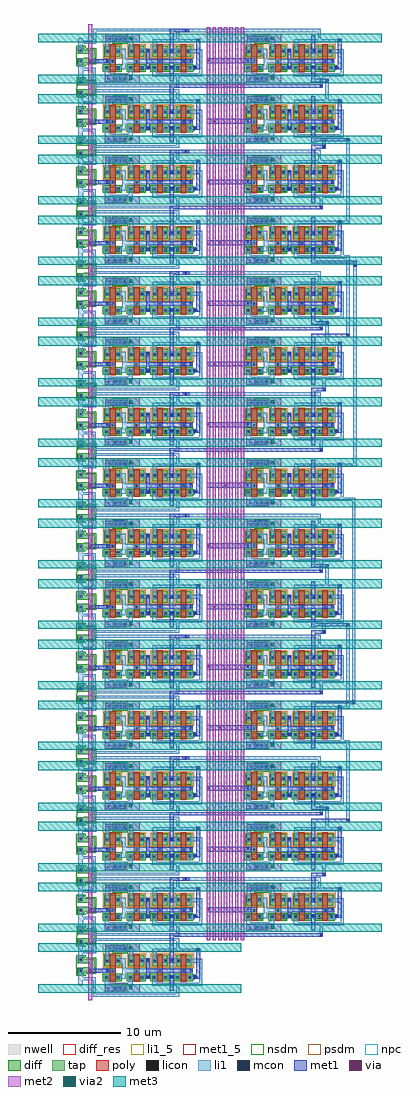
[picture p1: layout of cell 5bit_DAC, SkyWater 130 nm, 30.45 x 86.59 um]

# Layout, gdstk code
import gdstk
lib = gdstk.Library(unit=1e-6, precision=1e-09)
def R(c, l, rs):  # rectangles x0, y0, x1, y1
    for r in rs: c.add(gdstk.rectangle(r[:2], r[2:], *l))
def A(c, l, x, y, w, h, nx, ny, dx, dy):  # array of equal rectangles
    R(c, l, [(x+i*dx, y+j*dy, x+i*dx+w, y+j*dy+h) for i in range(nx) for j in range(ny)])
def P(c, l, *ps):  # polygons
    for p in ps: c.add(gdstk.Polygon(p, *l))
nwell = (64, 20)
diff_res = (65, 13)
diff = (65, 20)
tap = (65, 44)
poly = (66, 20)
licon = (66, 44)
li1_5 = (67, 5)
li1 = (67, 20)
mcon = (67, 44)
met1_5 = (68, 5)
met1 = (68, 20)
via = (68, 44)
met2 = (69, 20)
via2 = (69, 44)
met3 = (70, 20)
nsdm = (93, 44)
psdm = (94, 20)
npc = (95, 20)

resistor = lib.new_cell('resistor')
R(resistor, diff_res, [(-0.68,-1.03,-0.07,-0.87), (-0.68,-0.87,0.88,-0.83), (-0.68,-0.83,-0.48,-0.65), (-0.3,-0.83,0.88,-0.65), (-0.68,-0.65,0.88,-0.44), (-0.12,-0.44,0.88,-0.43), (0.45,-0.43,0.87,-0.07), (-0.64,-0.07,0.87,0.16), (-0.64,0.16,-0.46,0.34), (-0.28,0.16,0.87,0.31), (-0.28,0.31,-0.07,0.34), (-0.64,0.34,-0.07,0.53)])
R(resistor, diff, [(-0.68,-1.03,-0.07,-0.87), (-0.68,-0.87,0.88,-0.44), (-0.12,-0.44,0.88,-0.43), (0.45,-0.43,0.87,-0.07), (-0.64,-0.07,0.87,0.31), (-0.64,0.31,-0.07,0.53)])
R(resistor, licon, [(-0.475,-0.825,-0.305,-0.655), (-0.455,0.165,-0.285,0.335)])
R(resistor, li1, [(-0.59,-2,-0.19,-0.56), (-0.588,0.06,-0.188,1.3)])
R(resistor, nsdm, [(-0.805,-1.155,0.055,-0.995), (-0.805,-0.995,1.005,-0.315), (-0.765,-0.315,1.005,-0.305), (-0.765,-0.305,0.995,0.435), (-0.765,0.435,0.055,0.655)])
resistor.add(gdstk.Label('b', (-0.37,0.27), layer=67, texttype=5))
resistor.add(gdstk.Label('a', (-0.39,-0.75), layer=67, texttype=5))

switch0 = lib.new_cell('switch0')
R(switch0, nwell, [(-0.19,0,7.92,1.5), (-0.19,1.5,3.08,2.24)])
R(switch0, diff, [(-0.04,-1.01,1.39,-0.59), (2.09,-1.01,3.52,-0.59), (4.17,-1.01,5.6,-0.59), (6.3,-1.01,7.73,-0.59), (0.01,0.18,1.37,1.18), (2.14,0.18,3.5,1.18), (4.22,0.18,5.58,1.18), (6.32,0.18,7.68,0.87), (6.32,0.87,7.69,1.18)])
R(switch0, tap, [(0.81,-2.01,1.92,-1.42), (0.82,1.46,1.92,2.05)])
A(switch0, poly, 2.58, -1.17, 0.5, 2.48, 3, 1, 2.08, 0)
R(switch0, poly, [(0.45,-1.17,0.95,1.31)])
R(switch0, licon, [(1.275,-1.795,1.445,-1.625), (0.085,-0.875,0.255,-0.705), (2.215,-0.875,2.385,-0.705), (4.295,-0.875,4.465,-0.705), (7.435,-0.875,7.605,-0.705), (1.115,-0.835,1.285,-0.665), (3.245,-0.835,3.415,-0.665), (5.325,-0.835,5.495,-0.665), (6.405,-0.835,6.575,-0.665), (2.725,-0.315,2.895,-0.145), (6.965,-0.295,7.135,-0.125), (0.595,-0.285,0.765,-0.115), (4.815,-0.265,4.985,-0.095), (0.145,0.615,0.315,0.785), (1.105,0.615,1.275,0.785), (2.275,0.615,2.445,0.785), (3.235,0.615,3.405,0.785), (4.355,0.615,4.525,0.785), (5.315,0.615,5.485,0.785), (6.415,0.615,6.585,0.785), (7.375,0.615,7.545,0.785), (1.297,1.658,1.467,1.828)])
R(switch0, li1_5, [(5.79,-1.48,6.18,-1.45), (5.83,0.07,6.05,0.22), (5.77,1.64,6.16,1.67)])
R(switch0, li1, [(0.81,-2.01,1.92,-1.5), (4.2,-1.55,8.64,-1.29), (8.37,-1.55,8.64,0.51), (-0.01,-1.5,0.36,-0.97), (-0.01,-1.5,2.49,-1.28), (4.2,-1.29,4.57,-0.97), (2.12,-1.28,2.49,-0.97), (7.33,-1.01,7.97,-0.88), (-0.02,-0.97,0.36,-0.6), (2.11,-0.97,2.49,-0.6), (4.19,-0.97,4.57,-0.6), (1.02,-0.93,1.87,-0.59), (3.15,-0.93,3.99,-0.59), (5.23,-0.93,6.67,-0.59), (5.77,-0.93,6.13,0.9), (7.33,-0.88,8.2,-0.63), (-0.01,-0.6,0.36,-0.59), (2.12,-0.6,2.49,-0.59), (1.56,-0.59,1.87,-0.38), (-0.6,-0.38,0.89,-0.03), (1.56,-0.38,5.15,-0.02), (6.8,-0.38,7.8,-0.01), (1.56,-0.02,1.87,0.51), (0.04,0.5,0.41,1.59), (2.17,0.5,2.54,1.59), (4.25,0.5,4.62,1.76), (1,0.51,1.87,0.9), (5.21,0.51,6.69,0.9), (7.27,0.51,8.65,0.87), (3.13,0.53,4,0.9), (0.82,1.46,1.92,1.59), (4.25,1.51,8.41,1.76), (0.04,1.59,2.54,1.83), (0.82,1.83,1.92,2.05)])
R(switch0, mcon, [(0.9,-1.825,1.07,-1.655), (1.67,-1.825,1.84,-1.655), (5.856,-0.846,6.026,-0.676), (3.74,-0.845,3.91,-0.675), (7.985,-0.815,8.155,-0.645), (0.12,-0.272,0.29,-0.102), (7.515,-0.255,7.685,-0.085), (5.865,0.626,6.035,0.796), (3.76,0.645,3.93,0.815), (8.195,1.575,8.365,1.745), (1.65,1.659,1.82,1.829), (0.92,1.66,1.09,1.83)])
R(switch0, met1_5, [(1.19,-1.98,1.53,-1.92), (1.22,1.95,1.5,2)])
R(switch0, met1, [(-0.01,-2.01,1.92,-1.42), (5.77,-2,6.13,-0.59), (3.67,-0.93,3.99,-0.38), (7.9,-0.9,8.46,-0.58), (8.12,-0.58,8.46,1.48), (-1.459,-0.38,0.419,-0.03), (3.67,-0.38,7.79,-0.02), (3.67,-0.02,4,0.9), (7.37,-0.02,7.77,-0.01), (5.77,0.51,6.13,2.24), (0.04,1.46,1.92,2.05), (8.12,1.48,8.46,1.81)])
R(switch0, via, [(0.24,-1.84,0.41,-1.67), (-1.372,-0.3,-1.202,-0.13), (0.359,1.689,0.529,1.859)])
R(switch0, met2, [(-1.459,-2.8,-1.129,3.1), (-0.01,-2.135,3.08,-1.42), (0.04,1.46,3.08,2.24)])
R(switch0, via2, [(2.154,-1.853,2.454,-1.553), (2.154,1.684,2.454,1.984)])
R(switch0, nsdm, [(-0.165,-1.135,1.515,-0.465), (1.965,-1.135,3.645,-0.465), (4.045,-1.135,5.725,-0.465), (6.175,-1.135,7.855,-0.465), (0.695,1.335,2.045,2.175)])
R(switch0, psdm, [(0.685,-2.135,2.045,-1.295), (-0.115,0.055,1.495,1.305), (2.015,0.055,3.625,1.305), (4.095,0.055,5.705,1.305), (6.195,0.055,7.805,0.745), (6.195,0.745,7.815,1.305)])
R(switch0, npc, [(2.625,-0.415,2.995,-0.045), (6.865,-0.395,7.235,-0.025), (0.495,-0.385,0.865,-0.015), (4.715,-0.365,5.085,0.005)])
switch0.add(gdstk.Label('vrefh', (5.965,1.655), layer=67, texttype=5))
switch0.add(gdstk.Label('vrefl', (5.985,-1.465), layer=67, texttype=5))
switch0.add(gdstk.Label('vout', (5.94,0.145), layer=67, texttype=5))
switch0.add(gdstk.Label('Vout', (5.927,2.295), layer=68, texttype=5))
switch0.add(gdstk.Label('Vout', (5.94,-1.971), layer=68, texttype=5))
switch0.add(gdstk.Label('vdd', (1.36,1.975), layer=68, texttype=5))
switch0.add(gdstk.Label('gnd', (1.36,-1.95), layer=68, texttype=5))
switch0.add(gdstk.Label('D0', (-1.368,2.259), layer=69, texttype=5))

c_1bit_dac = lib.new_cell('1bit_DAC')
R(c_1bit_dac, li1, [(-1.132,-3.22,-0.902,-1.524), (-1.132,-3.22,6.493,-2.989), (6.243,-3.22,6.493,-2.015), (-2.444,-1.755,-0.9,-1.524), (-2.442,0.632,-0.874,0.898), (-1.12,0.632,-0.874,1.967), (6.243,0.785,6.493,1.967), (-1.12,1.717,6.493,1.967)])
R(c_1bit_dac, met3, [(-6,-2.86,12,-2.145), (-6,0.735,12,1.515)])
c_1bit_dac.add(gdstk.Reference(resistor, (-1.854,-0.203)))
c_1bit_dac.add(gdstk.Reference(switch0, (-0.106,-0.725)))
c_1bit_dac.add(gdstk.Label('GND', (-3.022,-2.615), layer=71, texttype=5))
c_1bit_dac.add(gdstk.Label('VDD', (-2.639,1.033), layer=71, texttype=5))

switchn = lib.new_cell('switchn')
R(switchn, nwell, [(-0.19,0,7.92,1.5), (-0.19,1.5,3.08,2.24)])
R(switchn, diff, [(-0.04,-1.01,1.39,-0.59), (2.09,-1.01,3.52,-0.59), (4.17,-1.01,5.6,-0.59), (6.3,-1.01,7.73,-0.59), (0.01,0.18,1.37,1.18), (2.14,0.18,3.5,1.18), (4.22,0.18,5.58,1.18), (6.32,0.18,7.68,0.87), (6.32,0.87,7.69,1.18)])
R(switchn, tap, [(0.81,-2.01,1.92,-1.42), (0.82,1.46,1.92,2.05)])
A(switchn, poly, 2.58, -1.17, 0.5, 2.48, 3, 1, 2.08, 0)
R(switchn, poly, [(0.45,-1.17,0.95,1.31)])
R(switchn, licon, [(1.275,-1.795,1.445,-1.625), (0.085,-0.875,0.255,-0.705), (2.215,-0.875,2.385,-0.705), (4.295,-0.875,4.465,-0.705), (7.435,-0.875,7.605,-0.705), (1.115,-0.835,1.285,-0.665), (3.245,-0.835,3.415,-0.665), (5.325,-0.835,5.495,-0.665), (6.405,-0.835,6.575,-0.665), (2.725,-0.315,2.895,-0.145), (6.965,-0.295,7.135,-0.125), (0.595,-0.285,0.765,-0.115), (4.815,-0.265,4.985,-0.095), (0.145,0.615,0.315,0.785), (1.105,0.615,1.275,0.785), (2.275,0.615,2.445,0.785), (3.235,0.615,3.405,0.785), (4.355,0.615,4.525,0.785), (5.315,0.615,5.485,0.785), (6.415,0.615,6.585,0.785), (7.375,0.615,7.545,0.785), (1.297,1.658,1.467,1.828)])
R(switchn, li1_5, [(5.79,-1.48,6.18,-1.45), (5.83,0.07,6.05,0.22), (5.77,1.64,6.16,1.67)])
R(switchn, li1, [(0.81,-2.01,1.92,-1.5), (4.2,-1.55,8.64,-1.29), (8.37,-1.55,8.64,0.51), (-0.01,-1.5,0.36,-0.97), (-0.01,-1.5,2.49,-1.28), (4.2,-1.29,4.57,-0.97), (2.12,-1.28,2.49,-0.97), (7.33,-1.01,7.97,-0.88), (-0.02,-0.97,0.36,-0.6), (2.11,-0.97,2.49,-0.6), (4.19,-0.97,4.57,-0.6), (1.02,-0.93,1.87,-0.59), (3.15,-0.93,3.99,-0.59), (5.23,-0.93,6.67,-0.59), (5.77,-0.93,6.13,0.9), (7.33,-0.88,8.2,-0.63), (-0.01,-0.6,0.36,-0.59), (2.12,-0.6,2.49,-0.59), (1.56,-0.59,1.87,-0.38), (-0.145,-0.385,0.89,0.055), (1.56,-0.38,5.15,-0.02), (6.8,-0.38,7.8,-0.01), (1.56,-0.02,1.87,0.51), (0.04,0.5,0.41,1.59), (2.17,0.5,2.54,1.59), (4.25,0.5,4.62,1.76), (1,0.51,1.87,0.9), (5.21,0.51,6.69,0.9), (7.27,0.51,8.65,0.87), (3.13,0.53,4,0.9), (0.82,1.46,1.92,1.59), (4.25,1.51,8.41,1.76), (0.04,1.59,2.54,1.83), (0.82,1.83,1.92,2.05)])
R(switchn, mcon, [(0.9,-1.825,1.07,-1.655), (1.67,-1.825,1.84,-1.655), (3.74,-0.845,3.91,-0.675), (5.851,-0.844,6.021,-0.674), (7.985,-0.815,8.155,-0.645), (7.515,-0.255,7.685,-0.085), (0.025,-0.233,0.195,-0.063), (5.874,0.629,6.044,0.799), (3.76,0.645,3.93,0.815), (8.195,1.575,8.365,1.745), (1.65,1.659,1.82,1.829), (0.92,1.66,1.09,1.83)])
R(switchn, met1_5, [(1.19,-1.98,1.53,-1.92), (1.22,1.95,1.5,2)])
R(switchn, met1, [(-0.01,-2.01,1.92,-1.42), (5.77,-2,6.131,-0.59), (3.67,-0.93,3.99,-0.38), (7.9,-0.9,8.46,-0.58), (8.12,-0.58,8.46,1.48), (-3.5,-0.385,0.419,0.055), (3.67,-0.38,7.79,-0.02), (3.67,-0.02,4,0.9), (7.37,-0.02,7.77,-0.01), (5.77,0.513,6.13,2.084), (0.04,1.46,1.92,2.05), (8.12,1.48,8.46,1.81)])
R(switchn, via, [(0.24,-1.84,0.41,-1.67), (0.359,1.689,0.529,1.859)])
A(switchn, met2, -3.5, -2.9, 0.3, 5.7, 7, 1, 0.5, 0)
R(switchn, met2, [(-0.01,-2.135,3.08,-1.42), (0.04,1.46,3.08,2.24)])
R(switchn, via2, [(2.154,-1.853,2.454,-1.553), (2.154,1.684,2.454,1.984)])
R(switchn, met3, [(-4,-2.135,12,-1.42), (-4,1.46,12,2.24)])
R(switchn, nsdm, [(-0.165,-1.135,1.515,-0.465), (1.965,-1.135,3.645,-0.465), (4.045,-1.135,5.725,-0.465), (6.175,-1.135,7.855,-0.465), (0.695,1.335,2.045,2.175)])
R(switchn, psdm, [(0.685,-2.135,2.045,-1.295), (-0.115,0.055,1.495,1.305), (2.015,0.055,3.625,1.305), (4.095,0.055,5.705,1.305), (6.195,0.055,7.805,0.745), (6.195,0.745,7.815,1.305)])
R(switchn, npc, [(2.625,-0.415,2.995,-0.045), (6.865,-0.395,7.235,-0.025), (0.495,-0.385,0.865,-0.015), (4.715,-0.365,5.085,0.005)])
switchn.add(gdstk.Label('vrefh', (5.965,1.655), layer=67, texttype=5))
switchn.add(gdstk.Label('vrefl', (5.985,-1.465), layer=67, texttype=5))
switchn.add(gdstk.Label('vout', (5.94,0.145), layer=67, texttype=5))
switchn.add(gdstk.Label('Vout', (5.925,-2.202), layer=68, texttype=5))
switchn.add(gdstk.Label('Vout', (5.839,2.084), layer=68, texttype=5))
switchn.add(gdstk.Label('vdd', (1.36,1.975), layer=68, texttype=5))
switchn.add(gdstk.Label('gnd', (1.36,-1.95), layer=68, texttype=5))
switchn.add(gdstk.Label('D1', (-3.456,2.24), layer=69, texttype=5))
switchn.add(gdstk.Label('D2', (-2.943,2.24), layer=69, texttype=5))
switchn.add(gdstk.Label('D3', (-2.464,2.24), layer=69, texttype=5))
switchn.add(gdstk.Label('D4', (-1.986,2.24), layer=69, texttype=5))
switchn.add(gdstk.Label('D5', (-1.507,2.24), layer=69, texttype=5))
switchn.add(gdstk.Label('D6', (-1.02,2.24), layer=69, texttype=5))
switchn.add(gdstk.Label('D7', (-0.456,2.24), layer=69, texttype=5))

c_2bit_dac = lib.new_cell('2bit_DAC')
R(c_2bit_dac, li1, [(15.051,-0.24,15.34,1.034), (14.917,3.832,15.161,5.011), (2.917,4.707,15.161,5.014)])
R(c_2bit_dac, mcon, [(15.095,-0.174,15.265,-0.004), (3.09,4.769,3.26,4.939)])
R(c_2bit_dac, met1, [(1.764,-2.547,2.124,0.059), (1.764,-0.24,15.34,0.059), (1.769,2.835,2.124,5.014), (1.769,4.707,3.507,5.014)])
R(c_2bit_dac, via, [(5.105,2.102,5.275,2.272)])
c_2bit_dac.add(gdstk.Reference(c_1bit_dac, (-3.9,3.047)))
c_2bit_dac.add(gdstk.Reference(c_1bit_dac, (-3.9,-2.332)))
c_2bit_dac.add(gdstk.Reference(resistor, (-5.752,0.059)))
c_2bit_dac.add(gdstk.Reference(switchn, (8.552,2.322)))

c_3bit_dac = lib.new_cell('3bit_DAC')
R(c_3bit_dac, li1, [(8.9,-2.33,9.2,-1.037), (9.16,1.763,9.47,3.86)])
R(c_3bit_dac, mcon, [(8.954,-2.248,9.124,-2.078), (9.226,3.637,9.396,3.807)])
R(c_3bit_dac, met1, [(7.917,-3.212,8.275,-2), (7.917,-2.33,9.2,-2), (7.917,3.584,9.47,3.86)])
R(c_3bit_dac, via, [(-0.795,-0.031,-0.625,0.139)])
c_3bit_dac.add(gdstk.Reference(c_2bit_dac, (-6.407,3.31)))
c_3bit_dac.add(gdstk.Reference(c_2bit_dac, (-6.407,-7.444)))
c_3bit_dac.add(gdstk.Reference(resistor, (-12.16,-1.99)))
c_3bit_dac.add(gdstk.Reference(switchn, (2.145,0.253)))

c_4bit_dac = lib.new_cell('4bit_DAC')
R(c_4bit_dac, li1, [(13.931,-17.849,14.24,-10.596), (13.455,-10.856,14.24,-10.596), (13.205,-7.796,14.24,-7.546), (13.931,-7.796,14.24,-0.207)])
R(c_4bit_dac, mcon, [(13.995,-17.779,14.165,-17.609), (14.003,-0.411,14.173,-0.241)])
R(c_4bit_dac, met1, [(10.855,-17.999,11.215,-17.54), (10.855,-17.849,14.24,-17.54), (10.855,-0.46,14.24,-0.207)])
P(c_4bit_dac, met1, [(6.918,-18.118),(6.918,-18.118),(6.918,-18.118),(6.918,-18.118)])
R(c_4bit_dac, via, [(2.654,-9.547,2.824,-9.377)])
c_4bit_dac.add(gdstk.Reference(c_3bit_dac, (2.94,-20.325)))
c_4bit_dac.add(gdstk.Reference(resistor, (-9.223,-11.732)))
c_4bit_dac.add(gdstk.Reference(c_3bit_dac, (2.94,1.195)))
c_4bit_dac.add(gdstk.Reference(switchn, (5.085,-9.306)))

c_5bit_dac = lib.new_cell('5bit_DAC')
R(c_5bit_dac, li1, [(14.699,-40.552,14.96,-22.247), (13.669,-22.503,14.947,-22.247), (14.791,-19.447,15.1,-1.223), (13.197,-19.445,15.1,-19.197)])
R(c_5bit_dac, mcon, [(14.751,-40.459,14.921,-40.289), (14.86,-1.671,15.03,-1.501)])
R(c_5bit_dac, met1, [(14.699,-40.552,14.96,-40.187), (11.067,-40.451,14.96,-40.289), (14.791,-1.739,15.099,-1.223), (11.067,-1.437,15.1,-1.223)])
R(c_5bit_dac, via, [(3.361,-21.203,3.531,-21.033)])
c_5bit_dac.add(gdstk.Reference(c_4bit_dac, (0.212,9.869)))
c_5bit_dac.add(gdstk.Reference(c_4bit_dac, (0.212,-33.168)))
c_5bit_dac.add(gdstk.Reference(resistor, (-9.009,-23.248)))
c_5bit_dac.add(gdstk.Reference(switchn, (5.299,-20.957)))

lib.write_gds('5bit_DAC.gds')
